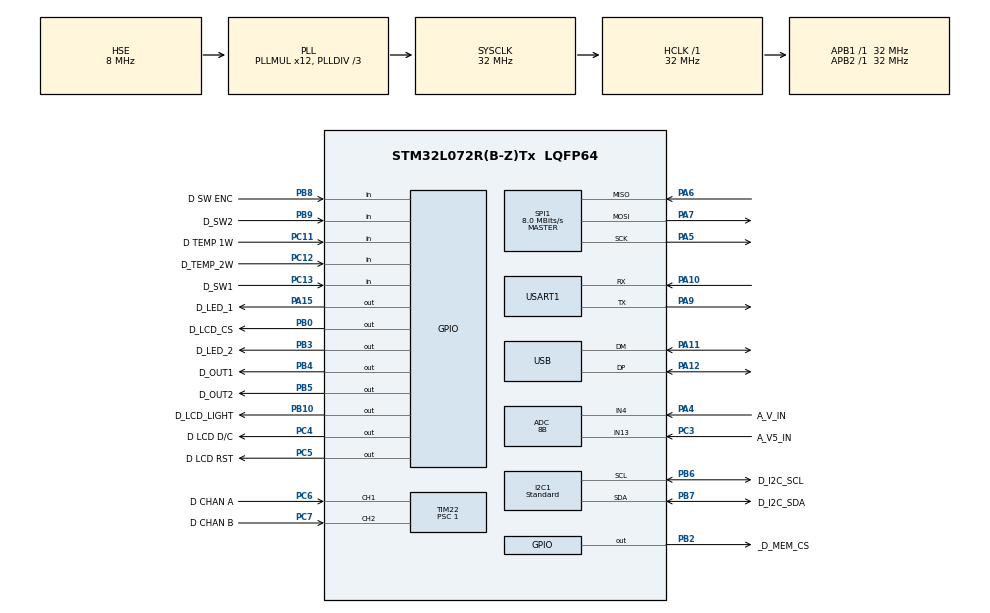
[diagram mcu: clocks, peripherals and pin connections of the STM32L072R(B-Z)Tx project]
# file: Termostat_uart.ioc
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ADC.Resolution=ADC_RESOLUTION_8B
ADC.SamplingTime=ADC_SAMPLETIME_1CYCLE_5
I2C1.I2C_Speed_Mode=I2C_Standard
I2C1.Speed=100
I2C1.Timing=0x00707CBB
Mcu.Family=STM32L0
Mcu.Name=STM32L072R(B-Z)Tx
Mcu.Package=LQFP64
NVIC.RTC_IRQn=true\:0\:0\:false\:false\:true\:true
NVIC.TIM21_IRQn=true\:0\:0\:false\:false\:true\:true
NVIC.USB_IRQn=true\:0\:0\:false\:false\:true\:true
PA10.Mode=Asynchronous
PA10.Signal=USART1_RX
PA11.Mode=Device
PA11.Signal=USB_DM
PA12.Mode=Device
PA12.Signal=USB_DP
PA13.Mode=Serial_Wire
PA13.Signal=SYS_SWDIO
PA14.Mode=Serial_Wire
PA14.Signal=SYS_SWCLK
PA15.GPIO_Label=D_LED_1
PA15.Signal=GPIO_Output
PA4.GPIO_Label=A_V_IN
PA4.Mode=IN4
PA4.Signal=ADC_IN4
PA5.Mode=Full_Duplex_Master
PA5.Signal=SPI1_SCK
PA6.Mode=Full_Duplex_Master
PA6.Signal=SPI1_MISO
PA7.Mode=Full_Duplex_Master
PA7.Signal=SPI1_MOSI
PA9.Mode=Asynchronous
PA9.Signal=USART1_TX
PB0.GPIO_Label=D_LCD_CS
PB0.PinState=GPIO_PIN_SET
PB0.Signal=GPIO_Output
PB10.GPIO_Label=D_LCD_LIGHT
PB10.Signal=GPIO_Output
PB11.GPIO_Label=D SWO
PB11.Signal=EVENTOUT
PB2.GPIO_Label=_D_MEM_CS
PB2.Signal=GPIO_Output
PB3.GPIO_Label=D_LED_2
PB3.Signal=GPIO_Output
PB4.GPIO_Label=D_OUT1
PB4.Signal=GPIO_Output
PB5.GPIO_Label=D_OUT2
PB5.Signal=GPIO_Output
PB6.GPIO_Label=D_I2C_SCL
PB6.Mode=I2C
PB6.Signal=I2C1_SCL
PB7.GPIO_Label=D_I2C_SDA
PB7.Mode=I2C
PB7.Signal=I2C1_SDA
PB8.GPIO_Label=D SW ENC
PB8.GPIO_PuPd=GPIO_PULLUP
PB8.Signal=GPIO_Input
PB9.GPIO_Label=D_SW2
PB9.GPIO_PuPd=GPIO_PULLUP
PB9.Signal=GPIO_Input
PC11.GPIO_Label=D TEMP 1W
PC11.Signal=GPIO_Input
PC12.GPIO_Label=D_TEMP_2W
PC12.Signal=GPIO_Input
PC13.GPIO_Label=D_SW1
PC13.GPIO_PuPd=GPIO_PULLUP
PC13.Signal=GPIO_Input
PC14-OSC32_IN.Mode=LSE-External-Oscillator
PC14-OSC32_IN.Signal=RCC_OSC32_IN
PC15-OSC32_OUT.Mode=LSE-External-Oscillator
PC15-OSC32_OUT.Signal=RCC_OSC32_OUT
PC3.GPIO_Label=A_V5_IN
PC3.Mode=IN13
PC3.Signal=ADC_IN13
PC4.GPIO_Label=D LCD D/C
PC4.Signal=GPIO_Output
PC5.GPIO_Label=D LCD RST
PC5.Signal=GPIO_Output
PC6.GPIO_Label=D CHAN A
PC6.GPIO_PuPd=GPIO_PULLUP
PC6.Signal=S_TIM22_CH1
PC7.GPIO_Label=D CHAN B
PC7.GPIO_PuPd=GPIO_PULLUP
PC7.Signal=S_TIM22_CH2
PH0-OSC_IN.Mode=HSE-External-Oscillator
PH0-OSC_IN.Signal=RCC_OSC_IN
PH1-OSC_OUT.Mode=HSE-External-Oscillator
PH1-OSC_OUT.Signal=RCC_OSC_OUT
ProjectManager.HeapSize=0x200
ProjectManager.StackSize=0x400
ProjectManager.TargetToolchain=SW4STM32
RCC.AHBFreq_Value=32000000
RCC.APB1Freq_Value=32000000
RCC.APB1TimFreq_Value=32000000
RCC.APB2Freq_Value=32000000
RCC.APB2TimFreq_Value=32000000
RCC.HCLKFreq_Value=32000000
RCC.HSE_VALUE=8000000
RCC.HSI16_VALUE=16000000
RCC.HSI48_VALUE=48000000
RCC.HSI_VALUE=16000000
RCC.MSIClockRange=RCC_MSIRANGE_2
RCC.MSI_VALUE=262144
RCC.PLLDIV=RCC_PLLDIV_3
RCC.PLLMUL=RCC_PLLMUL_12
RCC.RTCClockSelectionVirtual=RCC_RTCCLKSOURCE_LSE
RCC.SYSCLKFreq_VALUE=32000000
RCC.SYSCLKSource=RCC_SYSCLKSOURCE_PLLCLK
RCC.VCOOutputFreq_Value=96000000
RTC.Date=13
RTC.Month=RTC_MONTH_NOVEMBER
RTC.WakeUpCounter-WakeUp=0x2616
RTC.Year=18
SH.S_TIM22_CH1.0=TIM22_CH1,Encoder_Interface
SH.S_TIM22_CH2.0=TIM22_CH2,Encoder_Interface
SPI1.BaudRatePrescaler=SPI_BAUDRATEPRESCALER_4
SPI1.CLKPhase=SPI_PHASE_1EDGE
SPI1.CLKPolarity=SPI_POLARITY_LOW
SPI1.CalculateBaudRate=8.0 MBits/s
SPI1.Direction=SPI_DIRECTION_2LINES
SPI1.Mode=SPI_MODE_MASTER
SPI1.VirtualType=VM_MASTER
TIM21.ClockDivision=TIM_CLOCKDIVISION_DIV1
TIM21.Period=0x0FFFF
TIM21.Prescaler=32
TIM22.CounterMode=TIM_COUNTERMODE_UP
TIM22.EncoderMode=TIM_ENCODERMODE_TI1
TIM22.IC1Polarity=TIM_ICPOLARITY_FALLING
TIM22.IC1Prescaler=TIM_ICPSC_DIV2
TIM22.IC2Polarity=TIM_ICPOLARITY_RISING
TIM22.IC2Prescaler=TIM_ICPSC_DIV2
TIM22.Period=0xFF
TIM22.Prescaler=1
USART1.VirtualMode-Asynchronous=VM_ASYNC
USART1.WordLength=WORDLENGTH_8B
USB_DEVICE.CLASS_NAME_FS=CDC
USB_DEVICE.USBD_HandleTypeDef=hUsbDeviceFS
USB_DEVICE.VirtualMode=Cdc
USB_DEVICE.VirtualModeFS=Cdc_FS
VP_RTC_VS_RTC_Activate.Mode=RTC_Enabled
VP_RTC_VS_RTC_Calendar.Mode=RTC_Calendar
VP_RTC_VS_RTC_WakeUp_intern.Mode=WakeUp
VP_TIM21_VS_ClockSourceINT.Mode=Internal
VP_USB_DEVICE_VS_USB_DEVICE_CDC_FS.Mode=CDC_FS
board=Termostat_uart

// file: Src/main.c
/**
  ******************************************************************************
  * File Name          : main.c
  * Description        : Main program body
  ******************************************************************************
  * This notice applies to any and all portions of this file
  * that are not between comment pairs USER CODE BEGIN and
  * USER CODE END. Other portions of this file, whether
  * inserted by the user or by software development tools
  * are owned by their respective copyright owners.
  *
  * Copyright (c) 2018 STMicroelectronics International N.V.
  * All rights reserved.
  *
  * Redistribution and use in source and binary forms, with or without
  * modification, are permitted, provided that the following conditions are met:
  *
  * 1. Redistribution of source code must retain the above copyright notice,
  *    this list of conditions and the following disclaimer.
  * 2. Redistributions in binary form must reproduce the above copyright notice,
  *    this list of conditions and the following disclaimer in the documentation
  *    and/or other materials provided with the distribution.
  * 3. Neither the name of STMicroelectronics nor the names of other
  *    contributors to this software may be used to endorse or promote products
  *    derived from this software without specific written permission.
  * 4. This software, including modifications and/or derivative works of this
  *    software, must execute solely and exclusively on microcontroller or
  *    microprocessor devices manufactured by or for STMicroelectronics.
  * 5. Redistribution and use of this software other than as permitted under
  *    this license is void and will automatically terminate your rights under
  *    this license.
  *
  * THIS SOFTWARE IS PROVIDED BY STMICROELECTRONICS AND CONTRIBUTORS "AS IS"
  * AND ANY EXPRESS, IMPLIED OR STATUTORY WARRANTIES, INCLUDING, BUT NOT
  * LIMITED TO, THE IMPLIED WARRANTIES OF MERCHANTABILITY, FITNESS FOR A
  * PARTICULAR PURPOSE AND NON-INFRINGEMENT OF THIRD PARTY INTELLECTUAL PROPERTY
  * RIGHTS ARE DISCLAIMED TO THE FULLEST EXTENT PERMITTED BY LAW. IN NO EVENT
  * SHALL STMICROELECTRONICS OR CONTRIBUTORS BE LIABLE FOR ANY DIRECT, INDIRECT,
  * INCIDENTAL, SPECIAL, EXEMPLARY, OR CONSEQUENTIAL DAMAGES (INCLUDING, BUT NOT
  * LIMITED TO, PROCUREMENT OF SUBSTITUTE GOODS OR SERVICES; LOSS OF USE, DATA,
  * OR PROFITS; OR BUSINESS INTERRUPTION) HOWEVER CAUSED AND ON ANY THEORY OF
  * LIABILITY, WHETHER IN CONTRACT, STRICT LIABILITY, OR TORT (INCLUDING
  * NEGLIGENCE OR OTHERWISE) ARISING IN ANY WAY OUT OF THE USE OF THIS SOFTWARE,
  * EVEN IF ADVISED OF THE POSSIBILITY OF SUCH DAMAGE.
  *
  ******************************************************************************
  */

#include "main.h"
#include "stm32l0xx_hal.h"
#include "adc.h"
#include "i2c.h"
#include "rtc.h"
#include "spi.h"
#include "tim.h"
#include "usart.h"
#include "usb_device.h"
#include "gpio.h"

/* USER CODE BEGIN Includes */
#include "pinmap.h"
#include "peripherals.h"
#include "lcd_12864.h"
#include <stdio.h>
/* USER CODE END Includes */

/* USER CODE BEGIN PV */

/* Exported macro ------------------------------------------------------------*/
#define COUNTOF(__BUFFER__)   (sizeof(__BUFFER__) / sizeof(*(__BUFFER__)))
/* Exported functions ------------------------------------------------------- */

/* Private variables ---------------------------------------------------------*/

/* USER CODE END PV */

void SystemClock_Config(void);

/* USER CODE BEGIN PFP */
/* Private function prototypes -----------------------------------------------*/

/* USER CODE END PFP */

int main(void)
{

  /* MCU Configuration----------------------------------------------------------*/

  /* Reset of all peripherals, Initializes the Flash interface and the Systick. */
  HAL_Init();

  /* USER CODE BEGIN Init */
  char buffer_s [32];

  /* USER CODE END Init */

  /* Configure the system clock */
  SystemClock_Config();

  /* Initialize all configured peripherals */
  MX_GPIO_Init();
  MX_SPI1_Init();
  MX_TIM22_Init();
  MX_TIM21_Init();
  MX_I2C1_Init();
  MX_USB_DEVICE_Init();
  MX_RTC_Init();
  MX_ADC_Init();
  MX_USART1_UART_Init();

  /* USER CODE BEGIN 2 */
  backliteOn();
  lcd12864_init(&hspi1);
  	line(0,60,110,60,1);
  	lcd_setCharPos(0,0);
  	lcd_printString("Initialization unit\r");
  	lcd_printString("termostat_USART\r");
  	snprintf(buffer_s, 11, "SW v 0.%d", SW_VERSION);
  	lcd_printString(buffer_s);
  	HAL_Delay(1700);
  		lcd_clear();

  		/* Buffer used for transmission */
  uint8_t aTxBuffer[] = " **** UART_TwoBoards_ComPolling ****  **** UART_TwoBoards_ComPolling ****  **** UART_TwoBoards_ComPolling **** ";
#define TXBUFFERSIZE                      (COUNTOF(aTxBuffer) - 1)

  /* USER CODE END 2 */

  /* Infinite loop */
  while (1)
  {

  /* USER CODE BEGIN 3 */
	  while(SW1 == 1)
	   {
	       /* Toggle LED2*/
		  Led1Tgl;
	       HAL_Delay(400);
	   }

	  Led1Clear;

	  lcd_setCharPos(1,1);
	  lcd_printString("USART zacina posilat");

	   /* The board sends the message and expects to receive it back */

	   /*##-2- Start the transmission process #####################################*/
	   /* While the UART in reception process, user can transmit data through
	      "aTxBuffer" buffer */
	   if(HAL_UART_Transmit(&huart1, (uint8_t*)aTxBuffer, TXBUFFERSIZE, 5000)!= HAL_OK)
	   {
	     Error_Handler();
	   }

	   /*##-3- Put UART peripheral in reception process ###########################*/
/*	   if(HAL_UART_Receive(&huart1, (uint8_t *)aRxBuffer, RXBUFFERSIZE, 5000) != HAL_OK)
	   {
	     Error_Handler();
	   }
*/

  }
  /* USER CODE END 3 */

}

/** System Clock Configuration
*/
void SystemClock_Config(void)
{

  RCC_OscInitTypeDef RCC_OscInitStruct;
  RCC_ClkInitTypeDef RCC_ClkInitStruct;
  RCC_PeriphCLKInitTypeDef PeriphClkInit;

    /**Configure the main internal regulator output voltage
    */
  __HAL_PWR_VOLTAGESCALING_CONFIG(PWR_REGULATOR_VOLTAGE_SCALE1);

    /**Configure LSE Drive Capability
    */
  __HAL_RCC_LSEDRIVE_CONFIG(RCC_LSEDRIVE_LOW);

    /**Initializes the CPU, AHB and APB busses clocks
    */
  RCC_OscInitStruct.OscillatorType = RCC_OSCILLATORTYPE_HSE|RCC_OSCILLATORTYPE_LSE;
  RCC_OscInitStruct.HSEState = RCC_HSE_ON;
  RCC_OscInitStruct.LSEState = RCC_LSE_ON;
  RCC_OscInitStruct.PLL.PLLState = RCC_PLL_ON;
  RCC_OscInitStruct.PLL.PLLSource = RCC_PLLSOURCE_HSE;
  RCC_OscInitStruct.PLL.PLLMUL = RCC_PLLMUL_12;
  RCC_OscInitStruct.PLL.PLLDIV = RCC_PLLDIV_3;
  if (HAL_RCC_OscConfig(&RCC_OscInitStruct) != HAL_OK)
  {
    _Error_Handler(__FILE__, __LINE__);
  }

    /**Initializes the CPU, AHB and APB busses clocks
    */
  RCC_ClkInitStruct.ClockType = RCC_CLOCKTYPE_HCLK|RCC_CLOCKTYPE_SYSCLK
                              |RCC_CLOCKTYPE_PCLK1|RCC_CLOCKTYPE_PCLK2;
  RCC_ClkInitStruct.SYSCLKSource = RCC_SYSCLKSOURCE_PLLCLK;
  RCC_ClkInitStruct.AHBCLKDivider = RCC_SYSCLK_DIV1;
  RCC_ClkInitStruct.APB1CLKDivider = RCC_HCLK_DIV1;
  RCC_ClkInitStruct.APB2CLKDivider = RCC_HCLK_DIV1;

  if (HAL_RCC_ClockConfig(&RCC_ClkInitStruct, FLASH_LATENCY_1) != HAL_OK)
  {
    _Error_Handler(__FILE__, __LINE__);
  }

  PeriphClkInit.PeriphClockSelection = RCC_PERIPHCLK_USART1|RCC_PERIPHCLK_I2C1
                              |RCC_PERIPHCLK_RTC|RCC_PERIPHCLK_USB;
  PeriphClkInit.Usart1ClockSelection = RCC_USART1CLKSOURCE_PCLK2;
  PeriphClkInit.I2c1ClockSelection = RCC_I2C1CLKSOURCE_PCLK1;
  PeriphClkInit.RTCClockSelection = RCC_RTCCLKSOURCE_LSE;
  PeriphClkInit.UsbClockSelection = RCC_USBCLKSOURCE_PLL;
  if (HAL_RCCEx_PeriphCLKConfig(&PeriphClkInit) != HAL_OK)
  {
    _Error_Handler(__FILE__, __LINE__);
  }

    /**Configure the Systick interrupt time
    */
  HAL_SYSTICK_Config(HAL_RCC_GetHCLKFreq()/1000);

    /**Configure the Systick
    */
  HAL_SYSTICK_CLKSourceConfig(SYSTICK_CLKSOURCE_HCLK);

  /* SysTick_IRQn interrupt configuration */
  HAL_NVIC_SetPriority(SysTick_IRQn, 0, 0);
}

void _Error_Handler(char * file, int line)
{
  while(1)
  {
  }
}

/************************ (C) COPYRIGHT STMicroelectronics *****END OF FILE****/
